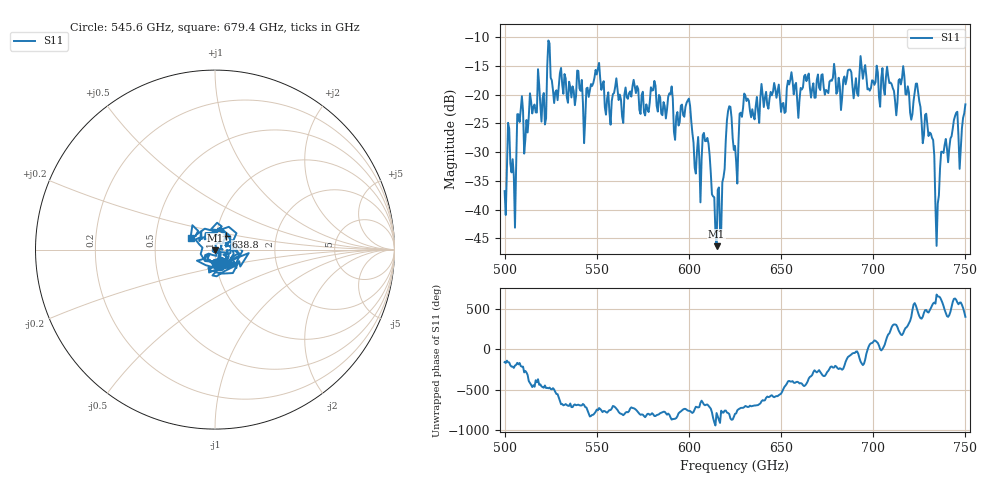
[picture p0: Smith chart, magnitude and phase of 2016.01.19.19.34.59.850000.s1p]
!Created with skrf (http://scikit-rf.org).
# GHz S RI R 50.0
!freq ReS11 ImS11
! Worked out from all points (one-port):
!   401 points, 500 GHz to 750 GHz, reference 50 ohm
!   lowest |S11| = -46.4 dB at 615 GHz (marker M1), VSWR 1.01, Z = 50.2 - j0.447 ohm
!   |S11| at or under -10 dB: start of sweep to end of sweep
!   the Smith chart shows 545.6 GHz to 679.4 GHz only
!   S11 on the Smith chart (normalised r, x): 545.6 GHz: 1.03, -0.19; 638.8 GHz: 1.11, +0.16; 679.4 GHz: 0.75, +0.10
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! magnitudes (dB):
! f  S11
! 500 GHz  -36.8
! 503.1 GHz  -32.0
! 505 GHz  -34.2
! 508.1 GHz  -24.8
! 521.2 GHz  -19.7
! 524.4 GHz  -11.1
! 531.2 GHz  -18.2
! 545.6 GHz  -20.4
! 562.5 GHz  -20.0
! 590 GHz  -19.9
! 593.8 GHz  -23.0
! 599.4 GHz  -21.0
! 605 GHz  -27.4
! 609.4 GHz  -28.1
! 615 GHz  -46.4
! 618.1 GHz  -35.2
! 621.9 GHz  -22.0
! 625 GHz  -28.9
! 630.6 GHz  -20.2
! 638.8 GHz  -20.5
! 656.2 GHz  -17.6
! 679.4 GHz  -16.4
! 687.5 GHz  -15.7
! 718.8 GHz  -18.5
! 731.9 GHz  -27.5
! 735 GHz  -39.0
! 738.1 GHz  -30.1
! 750 GHz  -21.7
